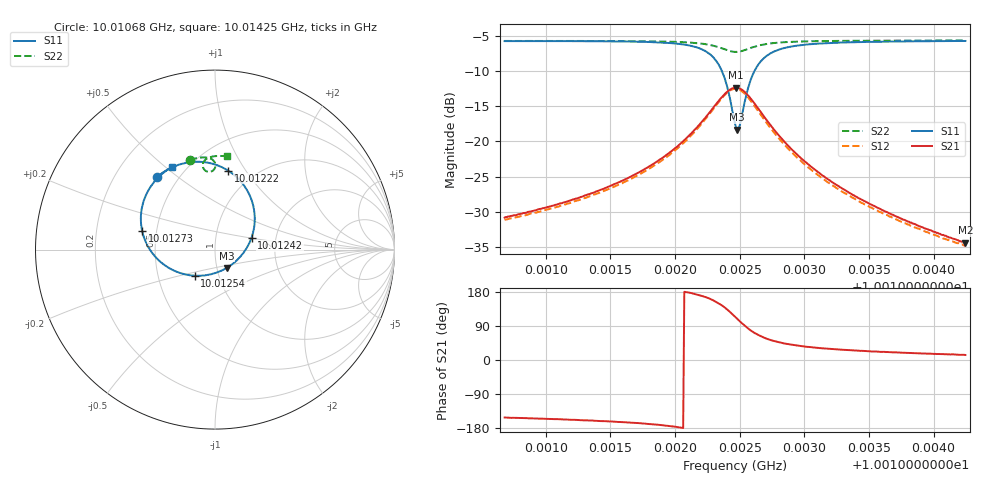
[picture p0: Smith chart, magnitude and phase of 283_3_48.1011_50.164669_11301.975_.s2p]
#  HZ  S  RI  R  50.00
! Rohde & Schwarz Vector Network Analyzer
! Rohde-Schwarz,ZNB20-2Port,1311601062101988,3.16
! Created: UTC 12/23/2023, 4:03:00 AM
! freq[Hz]  re:S11  im:S11  re:S21  im:S21  re:S12  im:S12  re:S22  im:S22
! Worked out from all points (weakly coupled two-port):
!   401 points, 10.01068 GHz to 10.01425 GHz, reference 50 ohm
!   highest |S21| = -12.33 dB at 10.01247 GHz (marker M1); lowest = -34.4 dB at 10.01425 GHz (marker M2)
!   lowest |S11| = -18.3 dB at 10.01248 GHz (marker M3), VSWR 1.28, Z = 55.8 - j11.5 ohm
!   |S11| at or under -10 dB: 10.01236 GHz to 10.01261 GHz (250.7 kHz wide, 0.0025 % of centre)
!   |S22| runs from -7.2 to -5.6 dB; largest |S21 - S12| = 0.012
!   S11 on the Smith chart (normalised r, x): 10.01068 GHz: 0.38, +0.42; 10.01222 GHz: 0.76, +0.84; 10.01242 GHz: 1.49, +0.21; 10.01254 GHz: 0.77, -0.23; 10.01273 GHz: 0.41, +0.11; 10.01425 GHz: 0.42, +0.53
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1.0010682e10  -0.3247 0.4041  -0.0253 -0.0135  -0.0236 -0.0143  -0.1394 0.5007
1.0011279e10  -0.2671 0.4435  -0.0376 -0.0146  -0.0354 -0.0161  -0.0982 0.5101
1.0011591e10  -0.2198 0.4661  -0.0504 -0.0147  -0.0476 -0.0165  -0.0746 0.5131
1.0011876e10  -0.1468 0.4858  -0.0728 -0.0113  -0.0694 -0.0146  -0.0493 0.5133
1.0012072e10  -0.0535 0.4865  -0.1023 3.86e-05  -0.0985 -0.0059  -0.0277 0.5084
1.0012223e10  0.0741 0.4397  -0.1403 0.0312  -0.138 0.0227  -0.00763 0.495
1.0012339e10  0.1991 0.2887  -0.1675 0.1  -0.1696 0.0893  0.00256 0.4681
1.0012384e10  0.2216 0.175  -0.1635 0.1432  -0.167 0.1338  -0.000961 0.4532
1.0012419e10  0.2034 0.0658  -0.1448 0.1816  -0.1498 0.1728  -0.00967 0.4417
1.0012464e10  0.1183 -0.063  -0.0995 0.22  -0.105 0.2126  -0.0274 0.4333
1.0012473e10  0.0923 -0.0844  -0.0878 0.2252  -0.0934 0.218  -0.0315 0.433
1.0012482e10  0.0658 -0.1019  -0.0762 0.2288  -0.0818 0.2217  -0.0354 0.4332
1.0012499e10  0.00623 -0.1291  -0.0524 0.2325  -0.0582 0.2259  -0.0434 0.4347
1.0012535e10  -0.1136 -0.1456  -0.00641 0.2267  -0.0114 0.2203  -0.0568 0.4426
1.0012571e10  -0.2179 -0.1216  0.0305 0.2077  0.0246 0.2012  -0.0648 0.4538
1.0012615e10  -0.3128 -0.0602  0.0597 0.1763  0.0524 0.1707  -0.0683 0.4683
1.0012731e10  -0.4065 0.1064  0.079 0.1072  0.0715 0.1051  -0.0596 0.4943
1.0012874e10  -0.4071 0.2333  0.0697 0.0622  0.0637 0.0623  -0.0427 0.5089
1.0013061e10  -0.3773 0.3187  0.0544 0.036  0.0501 0.0364  -0.0227 0.5167
1.0013301e10  -0.3403 0.3751  0.0408 0.0208  0.0377 0.0216  -0.00117 0.5205
1.0013658e10  -0.2965 0.42  0.0289 0.0108  0.0268 0.0117  0.0265 0.5218
1.0014246e10  -0.2411 0.4602  0.0185 0.00438  0.0172 0.00527  0.068 0.5195
